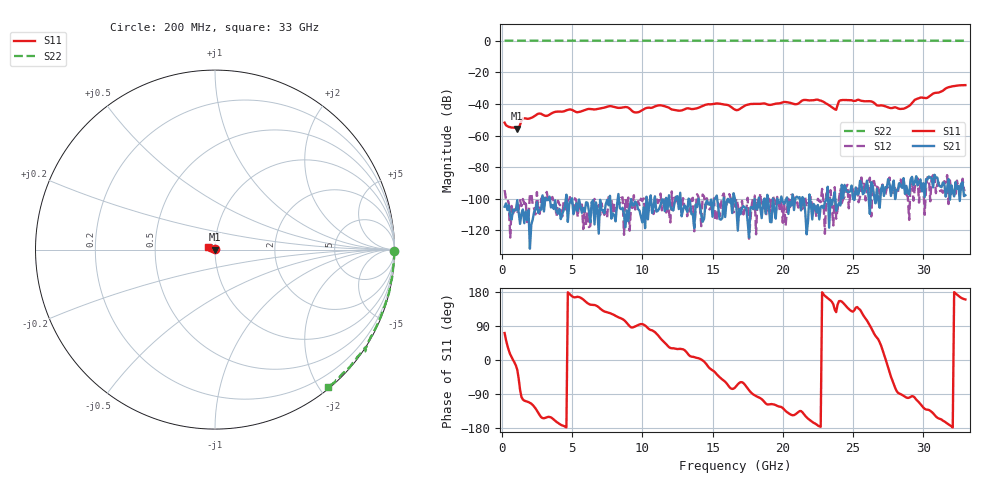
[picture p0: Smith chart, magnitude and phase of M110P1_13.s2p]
# GHZ S RI R 50
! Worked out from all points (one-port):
!   329 points, 200 MHz to 33 GHz, reference 50 ohm
!   lowest |S11| = -55.6 dB at 1.1 GHz (marker M1), VSWR 1.00, Z = 50.2 - j0.0727 ohm
!   |S11| at or under -10 dB: start of sweep to end of sweep
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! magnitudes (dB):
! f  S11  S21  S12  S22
! 200 MHz  -51.8  -105.0  -94.4  0.0
! 1.1 GHz  -55.6  -100.9  -108.8  0.0
! 1.5 GHz  -49.4  -106.7  -100.1  0.0
! 2.6 GHz  -46.2  -109.0  -107.3  0.0
! 5.7 GHz  -44.6  -108.8  -103.6  0.0
! 7.7 GHz  -41.4  -98.1  -98.9  0.0
! 9.6 GHz  -45.4  -102.9  -103.0  0.0
! 11.2 GHz  -40.9  -106.3  -101.1  0.0
! 12.7 GHz  -44.3  -96.2  -100.1  0.0
! 15.4 GHz  -39.8  -104.7  -102.6  0.0
! 16.6 GHz  -43.6  -100.2  -105.0  0.0
! 17.7 GHz  -40.1  -105.4  -112.5  0.0
! 22.1 GHz  -37.7  -113.0  -105.8  0.0
! 22.7 GHz  -37.9  -105.0  -102.1  0.0
! 23.8 GHz  -43.7  -107.5  -112.5  0.1
! 24 GHz  -38.3  -102.6  -99.9  0.0
! 24.3 GHz  -37.5  -99.6  -100.1  0.0
! 26.3 GHz  -38.4  -89.5  -111.1  0.0
! 27.6 GHz  -42.5  -90.6  -86.5  -0.1
! 28.6 GHz  -43.0  -86.9  -87.1  -0.1
! 29.6 GHz  -36.6  -91.6  -87.0  -0.1
! 33 GHz  -28.1  -97.7  -94.3  -0.1
